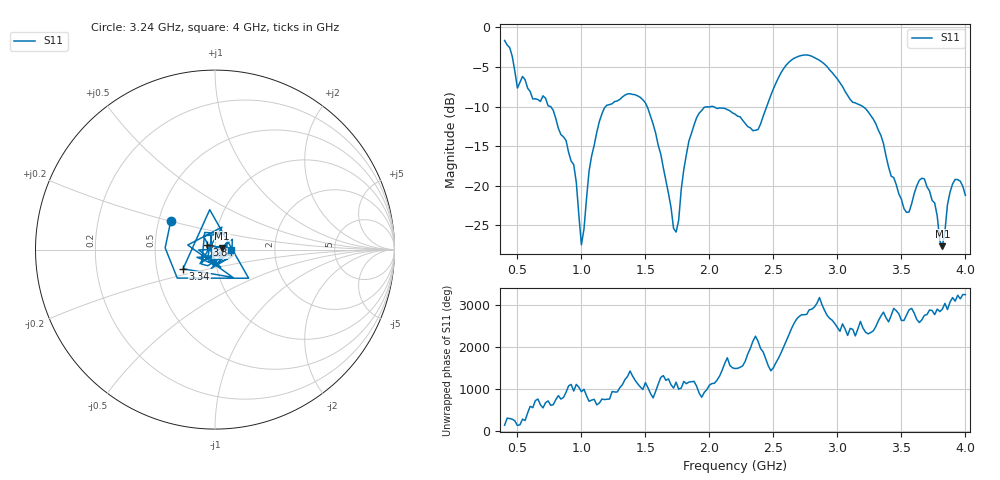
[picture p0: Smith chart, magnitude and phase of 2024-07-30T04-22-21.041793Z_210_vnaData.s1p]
!Created with skrf (http://scikit-rf.org).
# Hz S RI R 50.0
!freq ReS11 ImS11
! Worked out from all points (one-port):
!   181 points, 400 MHz to 4 GHz, reference 50 ohm
!   lowest |S11| = -27.7 dB at 3.82 GHz (marker M1), VSWR 1.09, Z = 54.2 + j0.958 ohm
!   |S11| at or under -10 dB: 760.2 MHz to 1.189 GHz (429.3 MHz wide, 44 % of centre); 1.513 GHz to 2.013 GHz (499.4 MHz wide, 28.3 % of centre); 3.199 GHz to end of sweep (the widest 3 of 4)
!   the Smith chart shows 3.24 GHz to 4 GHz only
!   S11 on the Smith chart (normalised r, x): 3.24 GHz: 0.58, +0.20; 3.34 GHz: 0.68, -0.15; 3.84 GHz: 0.91, +0.05; 4 GHz: 1.19, -0.00
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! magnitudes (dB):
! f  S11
! 400 MHz  -1.6
! 500 MHz  -7.7
! 720 MHz  -9.0
! 860 MHz  -13.8
! 940 MHz  -17.3
! 1 GHz  -27.5
! 1.06 GHz  -18.1
! 1.14 GHz  -11.9
! 1.3 GHz  -9.1
! 1.5 GHz  -9.5
! 1.62 GHz  -16.0
! 1.72 GHz  -25.4
! 1.76 GHz  -24.4
! 1.82 GHz  -16.1
! 1.9 GHz  -11.4
! 2.2 GHz  -10.9
! 2.38 GHz  -12.9
! 2.66 GHz  -3.9
! 2.86 GHz  -4.1
! 3.1 GHz  -9.1
! 3.24 GHz  -10.7
! 3.34 GHz  -13.7
! 3.56 GHz  -23.3
! 3.68 GHz  -19.2
! 3.82 GHz  -27.7
! 3.84 GHz  -25.8
! 3.9 GHz  -19.8
! 4 GHz  -21.2
